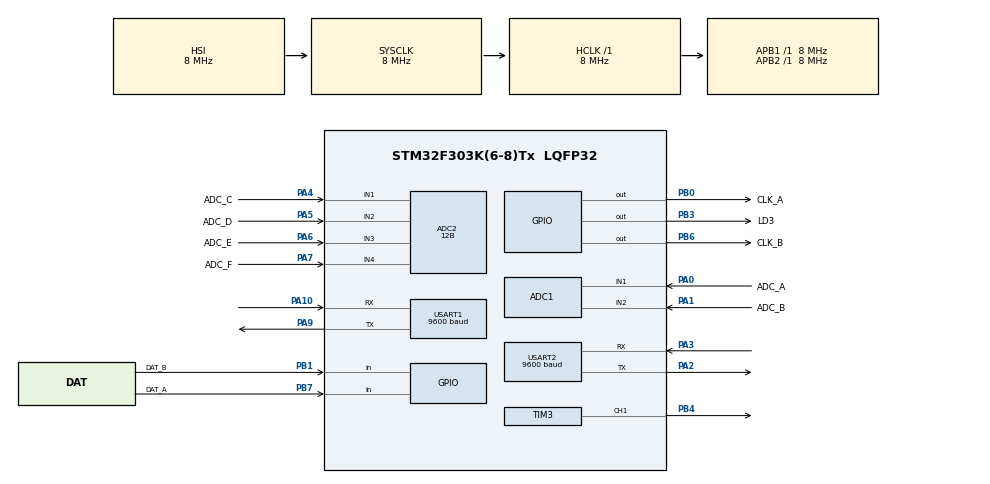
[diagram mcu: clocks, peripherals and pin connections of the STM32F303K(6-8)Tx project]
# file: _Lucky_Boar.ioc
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ADC1.Channel-0\#ChannelRegularConversion=ADC_CHANNEL_1
ADC1.NbrOfConversionFlag=1
ADC1.Offset-0\#ChannelRegularConversion=0
ADC1.OffsetNumber-0\#ChannelRegularConversion=ADC_OFFSET_NONE
ADC1.Rank-0\#ChannelRegularConversion=1
ADC1.SamplingTime-0\#ChannelRegularConversion=ADC_SAMPLETIME_1CYCLE_5
ADC1.SubFamily=STM32F303x8
ADC1.master=1
ADC2.Channel-0\#ChannelRegularConversion=ADC_CHANNEL_1
ADC2.ClockPrescaler=ADC_CLOCK_ASYNC_DIV1
ADC2.ContinuousConvMode=DISABLE
ADC2.DMAContinuousRequests=DISABLE
ADC2.DataAlign=ADC_DATAALIGN_RIGHT
ADC2.DiscontinuousConvMode=DISABLE
ADC2.EOCSelection=ADC_EOC_SINGLE_CONV
ADC2.EnableAnalogWatchDog1=false
ADC2.EnableAnalogWatchDog2=false
ADC2.EnableAnalogWatchDog3=false
ADC2.EnableInjectedConversion=ENABLE
ADC2.EnableRegularConversion=ENABLE
ADC2.ExternalTrigConv=ADC_SOFTWARE_START
ADC2.ExternalTrigConvEdge=ADC_EXTERNALTRIGCONVEDGE_NONE
ADC2.InjNumberOfConversion=0
ADC2.LowPowerAutoWait=DISABLE
ADC2.NbrOfConversion=1
ADC2.NbrOfConversionFlag=1
ADC2.Offset-0\#ChannelRegularConversion=0
ADC2.OffsetNumber-0\#ChannelRegularConversion=ADC_OFFSET_NONE
ADC2.Overrun=ADC_OVR_DATA_OVERWRITTEN
ADC2.Rank-0\#ChannelRegularConversion=1
ADC2.Resolution=ADC_RESOLUTION_12B
ADC2.SamplingTime-0\#ChannelRegularConversion=ADC_SAMPLETIME_1CYCLE_5
ADC2.ScanConvMode=ADC_SCAN_DISABLE
ADC2.SubFamily=STM32F303x8
Dma.Request0=USART1_RX
Dma.Request1=USART1_TX
Dma.Request2=USART2_RX
Dma.Request3=USART2_TX
Dma.USART1_RX.0.Direction=DMA_PERIPH_TO_MEMORY
Dma.USART1_RX.0.Instance=DMA1_Channel5
Dma.USART1_RX.0.MemDataAlignment=DMA_MDATAALIGN_BYTE
Dma.USART1_RX.0.MemInc=DMA_MINC_ENABLE
Dma.USART1_RX.0.Mode=DMA_NORMAL
Dma.USART1_RX.0.PeriphDataAlignment=DMA_PDATAALIGN_BYTE
Dma.USART1_RX.0.PeriphInc=DMA_PINC_DISABLE
Dma.USART1_RX.0.Priority=DMA_PRIORITY_MEDIUM
Dma.USART1_TX.1.Direction=DMA_MEMORY_TO_PERIPH
Dma.USART1_TX.1.Instance=DMA1_Channel4
Dma.USART1_TX.1.MemDataAlignment=DMA_MDATAALIGN_BYTE
Dma.USART1_TX.1.MemInc=DMA_MINC_ENABLE
Dma.USART1_TX.1.Mode=DMA_NORMAL
Dma.USART1_TX.1.PeriphDataAlignment=DMA_PDATAALIGN_BYTE
Dma.USART1_TX.1.PeriphInc=DMA_PINC_DISABLE
Dma.USART1_TX.1.Priority=DMA_PRIORITY_MEDIUM
Dma.USART2_RX.2.Direction=DMA_PERIPH_TO_MEMORY
Dma.USART2_RX.2.Instance=DMA1_Channel6
Dma.USART2_RX.2.MemDataAlignment=DMA_MDATAALIGN_BYTE
Dma.USART2_RX.2.MemInc=DMA_MINC_ENABLE
Dma.USART2_RX.2.Mode=DMA_NORMAL
Dma.USART2_RX.2.PeriphDataAlignment=DMA_PDATAALIGN_BYTE
Dma.USART2_RX.2.PeriphInc=DMA_PINC_DISABLE
Dma.USART2_RX.2.Priority=DMA_PRIORITY_LOW
Dma.USART2_TX.3.Direction=DMA_MEMORY_TO_PERIPH
Dma.USART2_TX.3.Instance=DMA1_Channel7
Dma.USART2_TX.3.MemDataAlignment=DMA_MDATAALIGN_BYTE
Dma.USART2_TX.3.MemInc=DMA_MINC_ENABLE
Dma.USART2_TX.3.Mode=DMA_NORMAL
Dma.USART2_TX.3.PeriphDataAlignment=DMA_PDATAALIGN_BYTE
Dma.USART2_TX.3.PeriphInc=DMA_PINC_DISABLE
Dma.USART2_TX.3.Priority=DMA_PRIORITY_LOW
Mcu.Family=STM32F3
Mcu.Name=STM32F303K(6-8)Tx
Mcu.Package=LQFP32
NVIC.ADC1_2_IRQn=true\:0\:0\:false\:true\:true\:4\:true
NVIC.DMA1_Channel4_IRQn=true\:0\:0\:false\:true\:true\:1\:false
NVIC.DMA1_Channel5_IRQn=true\:0\:0\:false\:true\:true\:2\:false
NVIC.DMA1_Channel6_IRQn=true\:0\:0\:false\:true\:true\:3\:false
NVIC.DMA1_Channel7_IRQn=true\:0\:0\:false\:true\:true\:6\:false
NVIC.PriorityGroup=NVIC_PRIORITYGROUP_4
NVIC.TIM3_IRQn=true\:0\:0\:false\:false\:true\:true
NVIC.USART1_IRQn=true\:0\:0\:false\:true\:true\:5\:true
NVIC.USART2_IRQn=true\:0\:0\:false\:false\:true\:true
PA0.GPIO_Label=ADC_A
PA0.Mode=IN1-Single-Ended
PA0.Signal=ADC1_IN1
PA1.GPIO_Label=ADC_B
PA1.Mode=IN2-Single-Ended
PA1.Signal=ADC1_IN2
PA10.Mode=Asynchronous
PA10.Signal=USART1_RX
PA2.Mode=Asynchronous
PA2.Signal=USART2_TX
PA3.Mode=Asynchronous
PA3.Signal=USART2_RX
PA4.GPIO_Label=ADC_C
PA4.Mode=IN1-Single-Ended
PA4.Signal=ADC2_IN1
PA5.GPIO_Label=ADC_D
PA5.Mode=IN2-Single-Ended
PA5.Signal=ADC2_IN2
PA6.GPIO_Label=ADC_E
PA6.Mode=IN3-Single-Ended
PA6.Signal=ADC2_IN3
PA7.GPIO_Label=ADC_F
PA7.Mode=IN4-Single-Ended
PA7.Signal=ADC2_IN4
PA9.Mode=Asynchronous
PA9.Signal=USART1_TX
PB0.GPIO_Label=CLK_A
PB0.Signal=GPIO_Output
PB1.GPIO_Label=DAT_B
PB1.Signal=GPIO_Input
PB3.GPIO_Label=LD3
PB3.Signal=GPIO_Output
PB4.Signal=S_TIM3_CH1
PB6.GPIO_FM6=SYSCFG_CFGR1_I2C_PB6_FMP
PB6.GPIO_Label=CLK_B
PB6.Signal=GPIO_Output
PB7.GPIO_Label=DAT_A
PB7.Signal=GPIO_Input
PF0\ /\ OSC_IN.Mode=HSE-External-Oscillator
PF0\ /\ OSC_IN.Signal=RCC_OSC_IN
PF1\ /\ OSC_OUT.Mode=HSE-External-Oscillator
PF1\ /\ OSC_OUT.Signal=RCC_OSC_OUT
ProjectManager.HeapSize=0x200
ProjectManager.StackSize=0x400
ProjectManager.TargetToolchain=TrueSTUDIO
RCC.AHBFreq_Value=8000000
RCC.APB1Freq_Value=8000000
RCC.APB2Freq_Value=8000000
RCC.CortexFreq_Value=8000000
RCC.HSE_VALUE=8000000
RCC.HSI_VALUE=8000000
RCC.PLLMUL=RCC_PLL_MUL4
RCC.SYSCLKFreq_VALUE=8000000
SH.S_TIM3_CH1.0=TIM3_CH1,PWM Generation1 CH1
TIM3.Channel-PWM\ Generation1\ CH1=TIM_CHANNEL_1
TIM3.Period=100
TIM3.Prescaler=72
USART1.BaudRate=9600
USART1.VirtualMode-Asynchronous=VM_ASYNC
USART1.WordLength=WORDLENGTH_8B
USART2.BaudRate=9600
USART2.VirtualMode-Asynchronous=VM_ASYNC
USART2.WordLength=WORDLENGTH_8B
VP_TIM3_VS_ClockSourceINT.Mode=Internal
board=_Lucky_Boar

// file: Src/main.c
/**
 ******************************************************************************
 * @file           : main.c
 * @brief          : Main program body
 ******************************************************************************
 ** This notice applies to any and all portions of this file
 * that are not between comment pairs USER CODE BEGIN and
 * USER CODE END. Other portions of this file, whether
 * inserted by the user or by software development tools
 * are owned by their respective copyright owners.
 *
 * COPYRIGHT(c) 2018 STMicroelectronics
 *
 * Redistribution and use in source and binary forms, with or without modification,
 * are permitted provided that the following conditions are met:
 *   1. Redistributions of source code must retain the above copyright notice,
 *      this list of conditions and the following disclaimer.
 *   2. Redistributions in binary form must reproduce the above copyright notice,
 *      this list of conditions and the following disclaimer in the documentation
 *      and/or other materials provided with the distribution.
 *   3. Neither the name of STMicroelectronics nor the names of its contributors
 *      may be used to endorse or promote products derived from this software
 *      without specific prior written permission.
 *
 * THIS SOFTWARE IS PROVIDED BY THE COPYRIGHT HOLDERS AND CONTRIBUTORS "AS IS"
 * AND ANY EXPRESS OR IMPLIED WARRANTIES, INCLUDING, BUT NOT LIMITED TO, THE
 * IMPLIED WARRANTIES OF MERCHANTABILITY AND FITNESS FOR A PARTICULAR PURPOSE ARE
 * DISCLAIMED. IN NO EVENT SHALL THE COPYRIGHT HOLDER OR CONTRIBUTORS BE LIABLE
 * FOR ANY DIRECT, INDIRECT, INCIDENTAL, SPECIAL, EXEMPLARY, OR CONSEQUENTIAL
 * DAMAGES (INCLUDING, BUT NOT LIMITED TO, PROCUREMENT OF SUBSTITUTE GOODS OR
 * SERVICES; LOSS OF USE, DATA, OR PROFITS; OR BUSINESS INTERRUPTION) HOWEVER
 * CAUSED AND ON ANY THEORY OF LIABILITY, WHETHER IN CONTRACT, STRICT LIABILITY,
 * OR TORT (INCLUDING NEGLIGENCE OR OTHERWISE) ARISING IN ANY WAY OUT OF THE USE
 * OF THIS SOFTWARE, EVEN IF ADVISED OF THE POSSIBILITY OF SUCH DAMAGE.
 *
 ******************************************************************************
 */
#include "main.h"
#include "stm32f3xx_hal.h"

ADC_HandleTypeDef hadc1;
ADC_HandleTypeDef hadc2;

TIM_HandleTypeDef htim3;

UART_HandleTypeDef huart1;
UART_HandleTypeDef huart2;
DMA_HandleTypeDef hdma_usart1_rx;
DMA_HandleTypeDef hdma_usart1_tx;
DMA_HandleTypeDef hdma_usart2_rx;
DMA_HandleTypeDef hdma_usart2_tx;

/* USER CODE BEGIN PV */
/* Private variables ---------------------------------------------------------*/

struct MSG;
struct CBUFF;
struct PARAMETERS;

CBUFF* cbuff = 0;
PARAMETERS* par = 0;

#define PIN_HI			1
#define PIN_LO			0
#define LSB				0
#define MSB				1
#define VERBOSE	TRUE

#define  PWM_PERIOD       (uint32_t)(40000 - 1)  /* Period Value  */

#define DAT_A_READ 		HAL_GPIO_ReadPin(DAT_A_GPIO_Port, DAT_A_Pin)
#define DAT_B_READ 		HAL_GPIO_ReadPin(DAT_B_GPIO_Port, DAT_B_Pin)
#define CLK_A_SET		HAL_GPIO_WritePin(CLK_A_GPIO_Port, CLK_A_Pin, GPIO_PIN_SET)
#define CLK_A_RESET		HAL_GPIO_WritePin(CLK_A_GPIO_Port, CLK_A_Pin, GPIO_PIN_RESET)
#define CLK_B_SET		HAL_GPIO_WritePin(CLK_B_GPIO_Port, CLK_B_Pin, GPIO_PIN_SET)
#define CLK_B_RESET		HAL_GPIO_WritePin(CLK_B_GPIO_Port, CLK_B_Pin, GPIO_PIN_RESET)
#define LED3_ON			HAL_GPIO_WritePin(LD3_GPIO_Port, LD3_Pin, GPIO_PIN_SET)
#define LED3_OFF		HAL_GPIO_WritePin(LD3_GPIO_Port, LD3_Pin, GPIO_PIN_RESET)

uint8_t buffer[B_SIZE];
uint8_t empty_buffer[B_SIZE];

uint8_t RX_B1[B_SIZE];
uint8_t RX_B2[B_SIZE];
uint8_t TX_B1[B_SIZE];
uint8_t TX_B2[B_SIZE];

char TX_T[B_SIZE];
char TX_A[B_SIZE];

#define loadBufferLen 10
int mA_Buff[loadBufferLen];
int mB_Buff[loadBufferLen];

uint8_t RX_buffer1[B_SIZE];
uint8_t RX_buffer2[B_SIZE];
uint8_t TX_buffer1[B_SIZE];
uint8_t TX_buffer2[B_SIZE];
uint8_t ADC_buffer[B_SIZE];
uint16_t len = sizeof(buffer), i, j, hmmmm;
int trans_delay = 75;
int ticker = 0;
unsigned long Count;

#define POT_MODE			0
#define CLOCK_WISE			0
#define COUNTER_CLOCK_WISE	1
#define PIN_LO			0
volatile int DC = 50;
volatile int DIR = CLOCK_WISE;
volatile int SERVO_PULSE_WIDTH = 1;
volatile uint16_t HILO_COUNT = 0;
volatile uint16_t HI_PERIOD = 1;
volatile uint16_t LO_PERIOD = 1;
volatile uint16_t HI_LO = PIN_HI;
#define ms_SCALER

// EPOCHS
int epoch_LED = 0;
int epoch_TX = 0;
int epoch_INIT = 0;

volatile uint32_t a;
volatile uint32_t ADC_A_Value;
volatile uint32_t ADC_B_Value;
volatile uint32_t ADC_C_Value;
volatile uint32_t ADC_D_Value;
volatile uint32_t ADC_E_Value;
volatile uint32_t ADC_F_Value;

ADC_ChannelConfTypeDef sConfig_A;
ADC_ChannelConfTypeDef sConfig_B;
ADC_ChannelConfTypeDef sConfig_C;
ADC_ChannelConfTypeDef sConfig_D;
ADC_ChannelConfTypeDef sConfig_E;
ADC_ChannelConfTypeDef sConfig_F;

char* errorMsg = 0;

/* USER CODE END PV */

void SystemClock_Config(void);
static void MX_GPIO_Init(void);
static void MX_DMA_Init(void);
static void MX_USART1_UART_Init(void);
static void MX_USART2_UART_Init(void);
static void MX_ADC2_Init(void);
static void MX_ADC1_Init(void);
static void MX_TIM3_Init(void);
static void MX_NVIC_Init(void);

void HAL_TIM_MspPostInit(TIM_HandleTypeDef *htim);

/* USER CODE BEGIN PFP */
/* Private function prototypes -----------------------------------------------*/
void Update_ADC_Values(void);
void HAL_Delay_Microseconds(__IO uint32_t);
int isTransmitting(UART_HandleTypeDef *, UART_HandleTypeDef *);
int channelBusy(UART_HandleTypeDef *);
void Update_PWM(uint16_t);
void set_pulse_width(void);

/* USER CODE END PFP */

int main(void) {
	/* USER CODE BEGIN 1 */
	memset(RX_B1, 0, len);
	memset(RX_B2, 0, len);
	memset(TX_B1, 0, len);
	memset(TX_B2, 0, len);
	/* USER CODE END 1 */

	/* MCU Configuration----------------------------------------------------------*/

	/* Reset of all peripherals, Initializes the Flash interface and the Systick. */
	HAL_Init();

	/* Configure the system clock */
	SystemClock_Config();

	/* Initialize all configured peripherals */
	MX_GPIO_Init();
	MX_DMA_Init();
	MX_USART1_UART_Init();
	MX_USART2_UART_Init();
	MX_ADC2_Init();
	MX_ADC1_Init();
	MX_TIM3_Init();

	/* Initialize interrupts */
	MX_NVIC_Init();
	/* USER CODE BEGIN 2 */

	memset(empty_buffer, 0, len);
	// Start ADCs
	if (HAL_ADC_ConfigChannel(&hadc2, &sConfig_C) != HAL_OK) {
		_Error_Handler(__FILE__, __LINE__);
	}
	if (HAL_ADC_ConfigChannel(&hadc1, &sConfig_A) != HAL_OK) {
		_Error_Handler(__FILE__, __LINE__);
	}

	// Init system paramaters
	cbuff = circ_buff_init();
	par = parameters_init();
	/* USER CODE END 2 */

	/* Infinite loop */
	/* USER CODE BEGIN WHILE */
	/* USER CODE BEGIN WHILE */

	// Generic Message Structure (e.g. errors)
	MSG* msg = 0;
	msg = (MSG*) malloc(sizeof(MSG));
	msg->type = 0;
	msg->ID = 0;
	msg->sign = 0;
	msg->value = 0;
	msg->complete = 0;

	// Torque Message Structure
	MSG* msgT = 0;
	msgT = (MSG*) malloc(sizeof(MSG));
	msgT->type = 0;
	msgT->ID = 0;
	msgT->sign = 0;
	msgT->value = 0;
	msgT->complete = 0;

	// Angle/ Position message structure
	MSG* msgA = 0;
	msgA = (MSG*) malloc(sizeof(MSG));
	msgA->type = 0;
	msgA->ID = 0;
	msgA->sign = 0;
	msgA->value = 0;
	msgA->complete = 0;

	// Init debugging and transmission buffers
	memset(TX_buffer2, '&', B_SIZE);
	TX_buffer2[B_SIZE - 2] = '\n';
	TX_buffer2[B_SIZE - 1] = '\r';

	memset(TX_B1, 0, B_SIZE);
	sprintf(TX_B1, "\n\r\n\r/* BOOT COMPLETE -> INITIALISING [%d] */\n\r\n\r",
			getEGO());
	while (isTransmitting(&huart1, &huart2))
		;
	HAL_UART_Transmit_DMA(&huart1, TX_B1, B_SIZE);
	HAL_UART_Transmit_DMA(&huart2, TX_B1, B_SIZE);

	// init more system paramaters
	int i;
	uint8_t x = 0, x0 = x;
	msgERROR_init();
	epoch_INIT = HAL_GetTick();
	ADC_A_Value = 0;
	ADC_B_Value = 0;
	ADC_C_Value = 0;
	ADC_D_Value = 0;
	ADC_E_Value = 0;
	ADC_F_Value = 0;

	int mA = 0, mB = 0, loadIndex = 0, loadBot, loadTop, delta;
	par = parameters_init();

	// start PWM (servo)
	if (HAL_TIM_PWM_Start(&htim3, TIM_CHANNEL_1) != HAL_OK) {
		/* PWM Generation Error */
		Error_Handler();
	}

	DC = 0;
	int sender = 0;

	// init motor torque
	set_T_target(par, 0);

while (1) {

	/* USER CODE END WHILE */

	/* USER CODE BEGIN 3 */

	if (!sender) { // Reciever, this controller would manage the servo speed

		/* Read messages from UART 2 */
		HAL_UART_Receive_DMA(&huart2, RX_B2, len);

		/* Process messages */
		for (i = 0; i < B_SIZE; i++) {
			readMSG(msg, RX_B2, &x, &x0); // Read the message and save the location in the buffer
			if (msg->complete) { // if a message is complete (valid)
				RX_B2[x - 1] = '@'; // mark it as read
				update_value(par, msg); // update system parameters

				contructMSG((char*) TX_B1, msg, B_SIZE); // Construct a message to be sent

				// Update the duty cycle of the servo (this was used in the demo, as the
				// other controller would tell this one the demand)
				DC = msg->value;
				set_pulse_width();

				// Tell the world the current DC
				memset(TX_B1, 0, B_SIZE);
				sprintf(TX_B1, "DC%u\tT%u\n\r", DC, get_T_target(par));
				while (isTransmitting(&huart1, &huart2))
					;
				HAL_UART_Transmit_DMA(&huart1, TX_B1, B_SIZE);
				HAL_UART_Transmit_DMA(&huart2, TX_B1, B_SIZE);

			}
		}
	}

	if (sender) { // Transmitter, this controller would manage the load cell
		Update_ADC_Values();

		// translate load cell values for mass (unlike the proximity sensors we
		// can't just make them equal and unscaled, cause the load cells are .... shit)
		mA = -1.6614 * ADC_A_Value + 5178.8;
		mB = -17.484 * ADC_B_Value + 26220;

		// No negative loads
		mA = (mA < 0) ? 0 : mA;
		mB = (mB < 0) ? 0 : mB;

		// Add the value to the moving average buffer
		mA_Buff[loadIndex] = mA;
		mB_Buff[loadIndex] = mB;
		loadIndex = (loadIndex + 1) % loadBufferLen;

		// We add the most recent "loadBufferLen" number of measurements,
		// then divide them for a moving average
		loadBot = 0;
		loadTop = 0;
		for (i = 0; i < loadBufferLen; i++) {
			loadBot = loadBot + mA_Buff[i];
			loadTop = loadTop + mB_Buff[i];
		}

		// this is the dividing
		loadBot = loadBot / loadBufferLen;
		loadTop = loadTop / loadBufferLen;

		// We want to bias the top to run when the load is equal (by 500g)
		delta = (loadTop + 500);

		// If the bottom is greater than the top, we stop
		delta = (loadBot > (loadTop + 500)) ? 0 : delta; // Ternary statement :P
		DC = delta;
		set_pulse_width();

		/* Create messages to send off */
		set_T_target(par, delta);
		contruct_X_msg('T', par, msgT, TX_T);

		/* Send out messages */
		while (isTransmitting(&huart1, &huart2))
			;
		HAL_UART_Transmit_DMA(&huart1, (uint8_t*) TX_T, B_SIZE);
		HAL_UART_Transmit_DMA(&huart2, (uint8_t*) TX_T, B_SIZE);

	}

	/* Toggle LED */
	if (HAL_GetTick() > (epoch_LED + D_LED)) {
		HAL_GPIO_TogglePin(LD3_GPIO_Port, LD3_Pin);
		epoch_LED = HAL_GetTick();
	}

}

	free(msg);
	free(msgT);
	free(msgA);
	free(par);
	free(cbuff);
	/* USER CODE END 3 */

}

void SystemClock_Config(void) {

	RCC_OscInitTypeDef RCC_OscInitStruct;
	RCC_ClkInitTypeDef RCC_ClkInitStruct;
	RCC_PeriphCLKInitTypeDef PeriphClkInit;

	/**Initializes the CPU, AHB and APB busses clocks
	 */
	RCC_OscInitStruct.OscillatorType = RCC_OSCILLATORTYPE_HSI;
	RCC_OscInitStruct.HSIState = RCC_HSI_ON;
	RCC_OscInitStruct.HSICalibrationValue = 16;
	RCC_OscInitStruct.PLL.PLLState = RCC_PLL_ON;
	RCC_OscInitStruct.PLL.PLLSource = RCC_PLLSOURCE_HSI;
	RCC_OscInitStruct.PLL.PLLMUL = RCC_PLL_MUL4;
	if (HAL_RCC_OscConfig(&RCC_OscInitStruct) != HAL_OK) {
		_Error_Handler(__FILE__, __LINE__);
	}

	/**Initializes the CPU, AHB and APB busses clocks
	 */
	RCC_ClkInitStruct.ClockType = RCC_CLOCKTYPE_HCLK | RCC_CLOCKTYPE_SYSCLK
			| RCC_CLOCKTYPE_PCLK1 | RCC_CLOCKTYPE_PCLK2;
	RCC_ClkInitStruct.SYSCLKSource = RCC_SYSCLKSOURCE_HSI;
	RCC_ClkInitStruct.AHBCLKDivider = RCC_SYSCLK_DIV1;
	RCC_ClkInitStruct.APB1CLKDivider = RCC_HCLK_DIV1;
	RCC_ClkInitStruct.APB2CLKDivider = RCC_HCLK_DIV1;

	if (HAL_RCC_ClockConfig(&RCC_ClkInitStruct, FLASH_LATENCY_0) != HAL_OK) {
		_Error_Handler(__FILE__, __LINE__);
	}

	PeriphClkInit.PeriphClockSelection = RCC_PERIPHCLK_USART1
			| RCC_PERIPHCLK_ADC12;
	PeriphClkInit.Usart1ClockSelection = RCC_USART1CLKSOURCE_PCLK1;
	PeriphClkInit.Adc12ClockSelection = RCC_ADC12PLLCLK_DIV1;
	if (HAL_RCCEx_PeriphCLKConfig(&PeriphClkInit) != HAL_OK) {
		_Error_Handler(__FILE__, __LINE__);
	}

	/**Configure the Systick interrupt time
	 */
	HAL_SYSTICK_Config(HAL_RCC_GetHCLKFreq() / 1000);

	/**Configure the Systick
	 */
	HAL_SYSTICK_CLKSourceConfig(SYSTICK_CLKSOURCE_HCLK);

	/* SysTick_IRQn interrupt configuration */
	HAL_NVIC_SetPriority(SysTick_IRQn, 0, 0);
}

/**
 * @brief NVIC Configuration.
 * @retval None
 */
static void MX_NVIC_Init(void) {
	/* DMA1_Channel4_IRQn interrupt configuration */
	HAL_NVIC_SetPriority(DMA1_Channel4_IRQn, 0, 0);
	HAL_NVIC_EnableIRQ(DMA1_Channel4_IRQn);
	/* DMA1_Channel5_IRQn interrupt configuration */
	HAL_NVIC_SetPriority(DMA1_Channel5_IRQn, 0, 0);
	HAL_NVIC_EnableIRQ(DMA1_Channel5_IRQn);
	/* DMA1_Channel6_IRQn interrupt configuration */
	HAL_NVIC_SetPriority(DMA1_Channel6_IRQn, 0, 0);
	HAL_NVIC_EnableIRQ(DMA1_Channel6_IRQn);
	/* ADC1_2_IRQn interrupt configuration */
	HAL_NVIC_SetPriority(ADC1_2_IRQn, 0, 0);
	HAL_NVIC_EnableIRQ(ADC1_2_IRQn);
	/* USART1_IRQn interrupt configuration */
	HAL_NVIC_SetPriority(USART1_IRQn, 0, 0);
	HAL_NVIC_EnableIRQ(USART1_IRQn);
	/* DMA1_Channel7_IRQn interrupt configuration */
	HAL_NVIC_SetPriority(DMA1_Channel7_IRQn, 0, 0);
	HAL_NVIC_EnableIRQ(DMA1_Channel7_IRQn);
}

/* ADC1 init function */
static void MX_ADC1_Init(void) {

	ADC_MultiModeTypeDef multimode;

	/**Common config
	 */
	hadc1.Instance = ADC1;
	hadc1.Init.ClockPrescaler = ADC_CLOCK_ASYNC_DIV1;
	hadc1.Init.Resolution = ADC_RESOLUTION_12B;
	hadc1.Init.ScanConvMode = ADC_SCAN_DISABLE;
	hadc1.Init.ContinuousConvMode = DISABLE;
	hadc1.Init.DiscontinuousConvMode = DISABLE;
	hadc1.Init.ExternalTrigConvEdge = ADC_EXTERNALTRIGCONVEDGE_NONE;
	hadc1.Init.ExternalTrigConv = ADC_SOFTWARE_START;
	hadc1.Init.DataAlign = ADC_DATAALIGN_RIGHT;
	hadc1.Init.NbrOfConversion = 1;
	hadc1.Init.DMAContinuousRequests = DISABLE;
	hadc1.Init.EOCSelection = ADC_EOC_SINGLE_CONV;
	hadc1.Init.LowPowerAutoWait = DISABLE;
	hadc1.Init.Overrun = ADC_OVR_DATA_OVERWRITTEN;
	if (HAL_ADC_Init(&hadc1) != HAL_OK) {
		_Error_Handler(__FILE__, __LINE__);
	}

	/**Configure the ADC multi-mode
	 */
	multimode.Mode = ADC_MODE_INDEPENDENT;
	if (HAL_ADCEx_MultiModeConfigChannel(&hadc1, &multimode) != HAL_OK) {
		_Error_Handler(__FILE__, __LINE__);
	}

	/**Configure Regular Channel
	 */
	sConfig_A.Channel = ADC_CHANNEL_1;
	sConfig_A.Rank = ADC_REGULAR_RANK_1;
	sConfig_A.SingleDiff = ADC_SINGLE_ENDED;
	sConfig_A.SamplingTime = ADC_SAMPLETIME_1CYCLE_5;
	sConfig_A.OffsetNumber = ADC_OFFSET_NONE;
	sConfig_A.Offset = 0;
	if (HAL_ADC_ConfigChannel(&hadc1, &sConfig_A) != HAL_OK) {
		_Error_Handler(__FILE__, __LINE__);
	}

	sConfig_B.Channel = ADC_CHANNEL_2;
	sConfig_B.Rank = ADC_REGULAR_RANK_1;
	sConfig_B.SingleDiff = ADC_SINGLE_ENDED;
	sConfig_B.SamplingTime = ADC_SAMPLETIME_1CYCLE_5;
	sConfig_B.OffsetNumber = ADC_OFFSET_NONE;
	sConfig_B.Offset = 0;
	if (HAL_ADC_ConfigChannel(&hadc1, &sConfig_B) != HAL_OK) {
		_Error_Handler(__FILE__, __LINE__);
	}

}

/* ADC2 init function */
static void MX_ADC2_Init(void) {

	/**Common config
	 */
	hadc2.Instance = ADC2;
	hadc2.Init.ClockPrescaler = ADC_CLOCK_ASYNC_DIV1;
	hadc2.Init.Resolution = ADC_RESOLUTION_12B;
	hadc2.Init.ScanConvMode = ADC_SCAN_DISABLE;
	hadc2.Init.ContinuousConvMode = DISABLE;
	hadc2.Init.DiscontinuousConvMode = DISABLE;
	hadc2.Init.ExternalTrigConvEdge = ADC_EXTERNALTRIGCONVEDGE_NONE;
	hadc2.Init.ExternalTrigConv = ADC_SOFTWARE_START;
	hadc2.Init.DataAlign = ADC_DATAALIGN_RIGHT;
	hadc2.Init.NbrOfConversion = 1;
	hadc2.Init.DMAContinuousRequests = DISABLE;
	hadc2.Init.EOCSelection = ADC_EOC_SINGLE_CONV;
	hadc2.Init.LowPowerAutoWait = DISABLE;
	hadc2.Init.Overrun = ADC_OVR_DATA_OVERWRITTEN;
	if (HAL_ADC_Init(&hadc2) != HAL_OK) {
		_Error_Handler(__FILE__, __LINE__);
	}

	/**Configure Regular Channel
	 */
	sConfig_C.Channel = ADC_CHANNEL_1;
	sConfig_C.Rank = ADC_REGULAR_RANK_1;
	sConfig_C.SingleDiff = ADC_SINGLE_ENDED;
	sConfig_C.SamplingTime = ADC_SAMPLETIME_1CYCLE_5;
	sConfig_C.OffsetNumber = ADC_OFFSET_NONE;
	sConfig_C.Offset = 0;
	if (HAL_ADC_ConfigChannel(&hadc2, &sConfig_C) != HAL_OK) {
		_Error_Handler(__FILE__, __LINE__);
	}

	sConfig_D.Channel = ADC_CHANNEL_2;
	sConfig_D.Rank = ADC_REGULAR_RANK_1;
	sConfig_D.SingleDiff = ADC_SINGLE_ENDED;
	sConfig_D.SamplingTime = ADC_SAMPLETIME_1CYCLE_5;
	sConfig_D.OffsetNumber = ADC_OFFSET_NONE;
	sConfig_D.Offset = 0;
	if (HAL_ADC_ConfigChannel(&hadc2, &sConfig_D) != HAL_OK) {
		_Error_Handler(__FILE__, __LINE__);
	}

	sConfig_E.Channel = ADC_CHANNEL_3;
	sConfig_E.Rank = ADC_REGULAR_RANK_1;
	sConfig_E.SingleDiff = ADC_SINGLE_ENDED;
	sConfig_E.SamplingTime = ADC_SAMPLETIME_1CYCLE_5;
	sConfig_E.OffsetNumber = ADC_OFFSET_NONE;
	sConfig_E.Offset = 0;
	if (HAL_ADC_ConfigChannel(&hadc2, &sConfig_E) != HAL_OK) {
		_Error_Handler(__FILE__, __LINE__);
	}

	sConfig_F.Channel = ADC_CHANNEL_4;
	sConfig_F.Rank = ADC_REGULAR_RANK_1;
	sConfig_F.SingleDiff = ADC_SINGLE_ENDED;
	sConfig_F.SamplingTime = ADC_SAMPLETIME_1CYCLE_5;
	sConfig_F.OffsetNumber = ADC_OFFSET_NONE;
	sConfig_F.Offset = 0;
	if (HAL_ADC_ConfigChannel(&hadc2, &sConfig_F) != HAL_OK) {
		_Error_Handler(__FILE__, __LINE__);
	}

}

/* TIM3 init function */
static void MX_TIM3_Init(void) {
	/* Counter Prescaler value */
	uint32_t uhPrescalerValue = 0;

	/* Compute the prescaler value to have TIM3 counter clock equal to 1000000 Hz */
	uhPrescalerValue = (uint32_t) ((SystemCoreClock / 2) / 1000000) - 1;

	TIM_ClockConfigTypeDef sClockSourceConfig;
	TIM_MasterConfigTypeDef sMasterConfig;
	TIM_OC_InitTypeDef sConfigOC;

	htim3.Instance = TIM3;
	htim3.Init.Prescaler = uhPrescalerValue;
	printf("Prescaler Value: %lu\r\n", uhPrescalerValue);
	htim3.Init.Period = PWM_PERIOD;
	printf("Period Value: %lu\r\n", PWM_PERIOD);
	htim3.Init.ClockDivision = 0;
	htim3.Init.CounterMode = TIM_COUNTERMODE_UP;
	htim3.Init.RepetitionCounter = 0;
	htim3.Init.AutoReloadPreload = TIM_AUTORELOAD_PRELOAD_DISABLE;
	if (HAL_TIM_Base_Init(&htim3) != HAL_OK) {
		printf("HAL_TIM_Base_Init failed.");
		_Error_Handler(__FILE__, __LINE__);
	}

	sClockSourceConfig.ClockSource = TIM_CLOCKSOURCE_INTERNAL;
	if (HAL_TIM_ConfigClockSource(&htim3, &sClockSourceConfig) != HAL_OK) {
		_Error_Handler(__FILE__, __LINE__);
	}

	if (HAL_TIM_PWM_Init(&htim3) != HAL_OK) {
		_Error_Handler(__FILE__, __LINE__);
	}

	sMasterConfig.MasterOutputTrigger = TIM_TRGO_RESET;
	sMasterConfig.MasterSlaveMode = TIM_MASTERSLAVEMODE_DISABLE;
	if (HAL_TIMEx_MasterConfigSynchronization(&htim3, &sMasterConfig)
			!= HAL_OK) {
		_Error_Handler(__FILE__, __LINE__);
	}

	// sConfigOC.Pulse = 0;
	sConfigOC.OCMode = TIM_OCMODE_PWM1;
	sConfigOC.OCPolarity = TIM_OCPOLARITY_HIGH;
	sConfigOC.OCFastMode = TIM_OCFAST_DISABLE;
	sConfigOC.OCNPolarity = TIM_OCNPOLARITY_HIGH;
	sConfigOC.OCNIdleState = TIM_OCNIDLESTATE_RESET;

	sConfigOC.Pulse = (uint32_t) (PWM_PERIOD / 2);
	if (HAL_TIM_PWM_ConfigChannel(&htim3, &sConfigOC, TIM_CHANNEL_1)
			!= HAL_OK) {
		/* Configuration Error */
		Error_Handler();
	}

	HAL_TIM_MspPostInit(&htim3);

}

/* USART1 init function */
static void MX_USART1_UART_Init(void) {

	huart1.Instance = USART1;
	huart1.Init.BaudRate = 9600;
	huart1.Init.WordLength = UART_WORDLENGTH_8B;
	huart1.Init.StopBits = UART_STOPBITS_1;
	huart1.Init.Parity = UART_PARITY_NONE;
	huart1.Init.Mode = UART_MODE_TX_RX;
	huart1.Init.HwFlowCtl = UART_HWCONTROL_NONE;
	huart1.Init.OverSampling = UART_OVERSAMPLING_16;
	huart1.Init.OneBitSampling = UART_ONE_BIT_SAMPLE_DISABLE;
	huart1.AdvancedInit.AdvFeatureInit = UART_ADVFEATURE_NO_INIT;
	if (HAL_UART_Init(&huart1) != HAL_OK) {
		_Error_Handler(__FILE__, __LINE__);
	}

}

/* USART2 init function */
static void MX_USART2_UART_Init(void) {

	huart2.Instance = USART2;
	huart2.Init.BaudRate = 9600;
	huart2.Init.WordLength = UART_WORDLENGTH_8B;
	huart2.Init.StopBits = UART_STOPBITS_1;
	huart2.Init.Parity = UART_PARITY_NONE;
	huart2.Init.Mode = UART_MODE_TX_RX;
	huart2.Init.HwFlowCtl = UART_HWCONTROL_NONE;
	huart2.Init.OverSampling = UART_OVERSAMPLING_16;
	huart2.Init.OneBitSampling = UART_ONE_BIT_SAMPLE_DISABLE;
	huart2.AdvancedInit.AdvFeatureInit = UART_ADVFEATURE_NO_INIT;
	if (HAL_UART_Init(&huart2) != HAL_OK) {
		_Error_Handler(__FILE__, __LINE__);
	}

}

static void MX_DMA_Init(void) {
	/* DMA controller clock enable */
	__HAL_RCC_DMA1_CLK_ENABLE()
	;

}

/** Configure pins as
 * Analog
 * Input
 * Output
 * EVENT_OUT
 * EXTI
 */
static void MX_GPIO_Init(void) {

	GPIO_InitTypeDef GPIO_InitStruct;

	/* GPIO Ports Clock Enable */
	__HAL_RCC_GPIOF_CLK_ENABLE()
	;
	__HAL_RCC_GPIOA_CLK_ENABLE()
	;
	__HAL_RCC_GPIOB_CLK_ENABLE()
	;

	/*Configure GPIO pin Output Level */
	HAL_GPIO_WritePin(GPIOB, CLK_A_Pin | LD3_Pin | CLK_B_Pin, GPIO_PIN_RESET);

	/*Configure GPIO pins : CLK_A_Pin LD3_Pin CLK_B_Pin */
	GPIO_InitStruct.Pin = CLK_A_Pin | LD3_Pin | CLK_B_Pin;
	GPIO_InitStruct.Mode = GPIO_MODE_OUTPUT_PP;
	GPIO_InitStruct.Pull = GPIO_NOPULL;
	GPIO_InitStruct.Speed = GPIO_SPEED_FREQ_LOW;
	HAL_GPIO_Init(GPIOB, &GPIO_InitStruct);

	/*Configure GPIO pins : DAT_B_Pin DAT_A_Pin */
	GPIO_InitStruct.Pin = DAT_B_Pin | DAT_A_Pin;
	GPIO_InitStruct.Mode = GPIO_MODE_INPUT;
	GPIO_InitStruct.Pull = GPIO_NOPULL;
	HAL_GPIO_Init(GPIOB, &GPIO_InitStruct);

	/**/
	HAL_I2CEx_EnableFastModePlus(SYSCFG_CFGR1_I2C_PB6_FMP);

}

/* USER CODE BEGIN 4 */
/**
 * @brief  Update all the ADC sensor readings (global variables)
 * @note   We stop and start the ADCs here as STM is buggy and its
 * best not to function as expected. As in all things, if it doesn't work,
 * turn it on and off again
 */
void Update_ADC_Values(void) {
	/* Read ADC_A
	 * ADC A */
	if (HAL_ADC_ConfigChannel(&hadc1, &sConfig_A) != HAL_OK) {
		Error_Handler();
	}
	if (HAL_ADC_Start(&hadc1) != HAL_OK) {
		Error_Handler();
	}
	if (HAL_ADC_PollForConversion(&hadc1, 1) == HAL_OK) {
		ADC_A_Value = HAL_ADC_GetValue(&hadc1);
	}
	if (HAL_ADC_Stop(&hadc1) != HAL_OK) {
		Error_Handler();
	}
	HAL_Delay(1);
	/* Read ADC_C
	 * ADC B */
	if (HAL_ADC_ConfigChannel(&hadc1, &sConfig_B) != HAL_OK) {
		Error_Handler();
	}
	if (HAL_ADC_Start(&hadc1) != HAL_OK) {
		Error_Handler();
	}
	if (HAL_ADC_PollForConversion(&hadc1, 1) == HAL_OK) {
		ADC_B_Value = HAL_ADC_GetValue(&hadc1);
	}
	if (HAL_ADC_Stop(&hadc1) != HAL_OK) {
		Error_Handler();
	}
	HAL_Delay(1);

	/* Read ADC_C
	 * ADC C = PA4 = A3 = ADC2 Channel 1 */
	if (HAL_ADC_ConfigChannel(&hadc2, &sConfig_C) != HAL_OK) {
		Error_Handler();
	}
	if (HAL_ADC_Start(&hadc2) != HAL_OK) {
		Error_Handler();
	}
	if (HAL_ADC_PollForConversion(&hadc2, 1) == HAL_OK) {
		ADC_C_Value = HAL_ADC_GetValue(&hadc2);
	}
	if (HAL_ADC_Stop(&hadc2) != HAL_OK) {
		Error_Handler();
	}
	HAL_Delay(1);

	/* Read ADC_D
	 * ADC D = PA5 = A4 = ADC2 Channel 2 */
	if (HAL_ADC_ConfigChannel(&hadc2, &sConfig_D) != HAL_OK) {
		Error_Handler();
	}
	if (HAL_ADC_Start(&hadc2) != HAL_OK) {
		Error_Handler();
	}
	if (HAL_ADC_PollForConversion(&hadc2, 1) == HAL_OK) {
		ADC_D_Value = HAL_ADC_GetValue(&hadc2);
	}
	if (HAL_ADC_Stop(&hadc2) != HAL_OK) {
		Error_Handler();
	}
	HAL_Delay(1);

	/* Read ADC_E
	 * ADC E = PA6 = A5 = ADC2 Channel 3 */
	if (HAL_ADC_ConfigChannel(&hadc2, &sConfig_E) != HAL_OK) {
		Error_Handler();
	}
	if (HAL_ADC_Start(&hadc2) != HAL_OK) {
		Error_Handler();
	}
	if (HAL_ADC_PollForConversion(&hadc2, 1) == HAL_OK) {
		ADC_E_Value = HAL_ADC_GetValue(&hadc2);
	}
	if (HAL_ADC_Stop(&hadc2) != HAL_OK) {
		Error_Handler();
	}
	HAL_Delay(1);

	/* Read ADC_F
	 * ADC F = PA7 = A6 = ADC2 Channel 4 */
	if (HAL_ADC_ConfigChannel(&hadc2, &sConfig_F) != HAL_OK) {
		Error_Handler();
	}
	if (HAL_ADC_Start(&hadc2) != HAL_OK) {
		Error_Handler();
	}
	if (HAL_ADC_PollForConversion(&hadc2, 1) == HAL_OK) {
		ADC_F_Value = HAL_ADC_GetValue(&hadc2);
	}
	if (HAL_ADC_Stop(&hadc2) != HAL_OK) {
		Error_Handler();
	}
	HAL_Delay(1);

	return;
}

/**
 * @brief 	Sets the Duty cycle (pulse width) of the servo motor
 * @note 	The (max,min) and (maxL,minL) parameters refer to the
 * two servomotors in use (MG995 and 900-8 respectively)
 *  @note 	The DC is global variable, so we have no inputs or outputs
 */
void set_pulse_width(void) {
	// Ensure value is valid
	DC = (DC > 4096) ? 4096 : DC;
	DC = (DC < 0) ? 0 : DC;

	// init
	int DutyCycle = (DC < 0) ? -DC : DC; // ensure always positive
	DutyCycle = 4096 - DutyCycle;
	int max = 2500, min = 700;
	int maxL = 1700, minL = 1500;
	int servoMotor = 1, DCMotor;
	DCMotor = (servoMotor + 1) % 2;

	// Initial testing involved an attempt to hook a 12V DC motor up to a
	// motor driver and use than, didn't work (starting torque was too low)
	// Just ignore this
	if (DCMotor) {
		if (DC < 2048) {
			DC = DC * 2;
			DC = 4096 - DC;
		} else {
			DC = DC * 2;
			DC = DC - 4096;
		}

		HI_PERIOD = 4.8828 * DC;
		HI_PERIOD = 2 * HI_PERIOD;

		DIR = (DC > 2048) ? CLOCK_WISE : COUNTER_CLOCK_WISE;
		if (DIR == COUNTER_CLOCK_WISE) {
			CLK_A_RESET;
			CLK_B_SET;
		} else {

			CLK_A_SET;
			CLK_B_RESET;
		}
	}

	// For the MG995
	if (servoMotor) {
		HI_PERIOD = (((max - min) * DutyCycle / 4096.0)) + min;
		HI_PERIOD = 2 * HI_PERIOD;

	}

	// For the 900-8
	int littleServoMotor = 1;
	if (littleServoMotor) {
		HI_PERIOD = (((maxL - minL) * DC / 4096.0)) + minL;
		HI_PERIOD = 2 * HI_PERIOD;

	}

	// This was used for debugging and calibration
	int zero = 0;
	if (zero) {
		HI_PERIOD = 2000 * (1.3);
	}

	// Once we have the value, we set the DC
	__HAL_TIM_SET_COMPARE(&htim3, TIM_CHANNEL_1, HI_PERIOD);
}

/**
 * @brief	A safet to ensure we don't access the DMA buffer while transmitting
 * @param  huart1 : UART 1 Handle
 * @param  huart2 : UART 2 Handle
 * @retval !0 = transmitting, 0 == not busy
 */
int isTransmitting(UART_HandleTypeDef *huart1, UART_HandleTypeDef *huart2) {
	return ((huart1->gState != HAL_UART_STATE_READY)
			|| (huart2->gState != HAL_UART_STATE_READY)) ? 1 : 0;
}

/**
 * @brief Initialise the error message buffer
 * @param  errorMsg: (global variable) buffer to be malloced)
 */
void msgERROR_init(void) {
	errorMsg = (char*) malloc(sizeof(char) * errorMsgSize);
	return;
}

/**
 * @brief  Send out an error message if an incoming message is incorrect
 */
void msgERROR(int e, uint8_t c) {
	memset(errorMsg, 0, errorMsgSize);

	switch (e) {
	case BAD_TYPE:
		sprintf(errorMsg, "\n\rBAD_TYPE|%c|%d|\n\r", c, c);
		return;
		break;
	case BAD_ID:
		sprintf(errorMsg, "\n\rBAD_ID|%c|%d|\n\r", c, c);
		break;
	case BAD_SIGN:
		sprintf(errorMsg, "\n\rBAD_SIGN|%c|%d|\n\r", c, c);
		break;
	case BAD_LHS:
		sprintf(errorMsg, "\n\rBAD_LHS|%c|%d|\n\r", c, c);
		break;
	case BAD_DOT:
		sprintf(errorMsg, "\n\rBAD_DOT|%c|%d|\n\r", c, c);
		break;
	case BAD_RHS:
		sprintf(errorMsg, "\n\rBAD_RHS|%c|%d|\n\r", c, c);
		break;
	case BAD_COLON:
		sprintf(errorMsg, "\n\rBAD_COLON|%c|%d|\n\r", c, c);
		break;
	case BAD_LEN:
		sprintf(errorMsg, "\n\rBAD_LEN\n\r");
		break;
	default:
		sprintf(errorMsg, "\n\rBAD_MSG (you should not see this)\n\r");
		break;
	}

	while (isTransmitting(&huart1, &huart2))
		;
	HAL_UART_Transmit_DMA(&huart1, (uint8_t*) errorMsg, errorMsgSize);
	return;
}

/* USER CODE END 4 */

void _Error_Handler(char *file, int line) {
	/* USER CODE BEGIN Error_Handler_Debug */
	/* User can add his own implementation to report the HAL error return state */
	while (1) {
		HAL_GPIO_TogglePin(LD3_GPIO_Port, LD3_Pin);
		HAL_Delay(trans_delay * 50);
	}
	/* USER CODE END Error_Handler_Debug */
}

/************************ (C) COPYRIGHT STMicroelectronics *****END OF FILE****/
